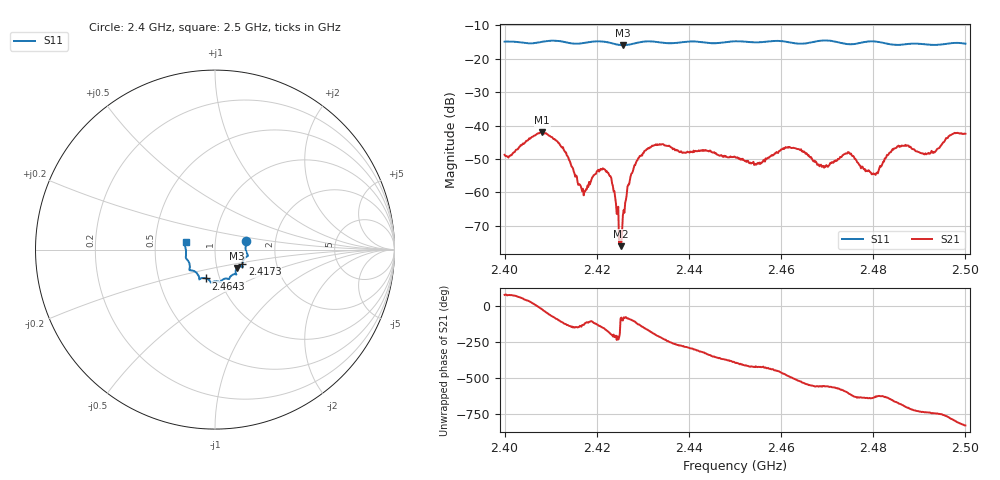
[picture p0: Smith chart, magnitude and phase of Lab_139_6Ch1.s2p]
# Hz S RI R 50
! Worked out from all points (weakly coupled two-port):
!   601 points, 2.4 GHz to 2.5 GHz, reference 50 ohm
!   highest |S21| = -42.02 dB at 2.4082 GHz (marker M1); lowest = -76.1 dB at 2.4252 GHz (marker M2)
!   lowest |S11| = -15.9 dB at 2.4257 GHz (marker M3), VSWR 1.38, Z = 62.5 - j13.1 ohm
!   |S11| at or under -10 dB: start of sweep to end of sweep
!   S12 and S22 are empty: the file has one direction only
!   S11 on the Smith chart (normalised r, x): 2.4 GHz: 1.41, +0.14; 2.4173 GHz: 1.34, -0.23; 2.4643 GHz: 0.86, -0.28; 2.5 GHz: 0.72, +0.06
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2.4e9  0.1734 0.0491  0.000588 0.00359  0 0  0 0
2.408167e9  0.1784 -0.0221  0.00738 -0.00289  0 0  0 0
2.412833e9  0.1751 -0.04  -0.00204 -0.00383  0 0  0 0
2.416667e9  0.1529 -0.0746  -0.000896 -0.00072  0 0  0 0
2.417333e9  0.1522 -0.082  -0.000552 -0.000872  0 0  0 0
2.422167e9  0.1507 -0.0947  -0.00203 -0.000416  0 0  0 0
2.4235e9  0.1411 -0.0937  -0.00108 0.000612  0 0  0 0
2.425167e9  0.1265 -0.0989  1.98e-05 -0.000155  0 0  0 0
2.425667e9  0.1228 -0.1022  -6.11e-05 -0.000446  0 0  0 0
2.427e9  0.1165 -0.114  6.45e-05 -0.0013  0 0  0 0
2.4285e9  0.1152 -0.1278  -0.00111 -0.00254  0 0  0 0
2.433333e9  0.1127 -0.1368  -0.00458 0.00236  0 0  0 0
2.45e9  0.0291 -0.1808  0.00286 -0.00185  0 0  0 0
2.454667e9  0.00476 -0.1762  0.00123 -0.0023  0 0  0 0
2.464333e9  -0.0499 -0.1607  -0.00426 -0.00116  0 0  0 0
2.466667e9  -0.0759 -0.1595  -0.00311 0.000755  0 0  0 0
2.469833e9  -0.0879 -0.1665  -0.00243 0.00082  0 0  0 0
2.474667e9  -0.103 -0.1294  -0.0015 0.0037  0 0  0 0
2.480167e9  -0.143 -0.1128  0.000208 0.00189  0 0  0 0
2.483333e9  -0.1405 -0.0899  0.000774 0.00363  0 0  0 0
2.492e9  -0.1611 -0.0256  0.00363 -0.00144  0 0  0 0
2.5e9  -0.1632 0.0419  -0.0028 -0.00701  0 0  0 0
